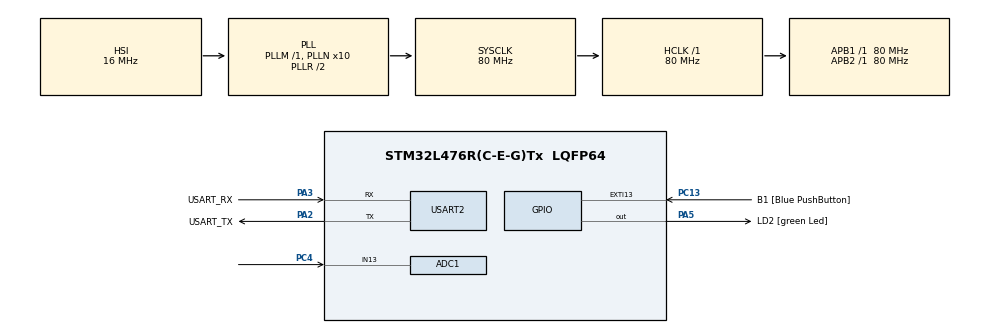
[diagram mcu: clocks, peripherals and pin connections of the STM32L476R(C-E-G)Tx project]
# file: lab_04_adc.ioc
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ADC1.Channel-1\#ChannelRegularConversion=ADC_CHANNEL_13
ADC1.NbrOfConversionFlag=1
ADC1.OffsetNumber-1\#ChannelRegularConversion=ADC_OFFSET_NONE
ADC1.Rank-1\#ChannelRegularConversion=1
ADC1.SamplingTime-1\#ChannelRegularConversion=ADC_SAMPLETIME_2CYCLES_5
ADC1.master=1
Mcu.Family=STM32L4
Mcu.Name=STM32L476R(C-E-G)Tx
Mcu.Package=LQFP64
NVIC.ADC1_2_IRQn=true\:0\:0\:false\:false\:true\:true\:true\:true
NVIC.EXTI15_10_IRQn=true\:0\:0\:false\:false\:true\:true\:true\:true
NVIC.PriorityGroup=NVIC_PRIORITYGROUP_4
PA13\ (JTMS-SWDIO).GPIO_Label=TMS
PA13\ (JTMS-SWDIO).Mode=Serial_Wire
PA13\ (JTMS-SWDIO).Signal=SYS_JTMS-SWDIO
PA14\ (JTCK-SWCLK).GPIO_Label=TCK
PA14\ (JTCK-SWCLK).Mode=Serial_Wire
PA14\ (JTCK-SWCLK).Signal=SYS_JTCK-SWCLK
PA2.GPIO_Label=USART_TX
PA2.GPIO_Mode=GPIO_MODE_AF_PP
PA2.GPIO_PuPd=GPIO_NOPULL
PA2.GPIO_Speed=GPIO_SPEED_FREQ_VERY_HIGH
PA2.Mode=Asynchronous
PA2.Signal=USART2_TX
PA3.GPIO_Label=USART_RX
PA3.GPIO_Mode=GPIO_MODE_AF_PP
PA3.GPIO_PuPd=GPIO_NOPULL
PA3.GPIO_Speed=GPIO_SPEED_FREQ_VERY_HIGH
PA3.Mode=Asynchronous
PA3.Signal=USART2_RX
PA5.GPIO_Label=LD2 [green Led]
PA5.GPIO_ModeDefaultOutputPP=GPIO_MODE_OUTPUT_PP
PA5.GPIO_PuPd=GPIO_NOPULL
PA5.GPIO_Speed=GPIO_SPEED_FREQ_LOW
PA5.Signal=GPIO_Output
PB3\ (JTDO-TRACESWO).GPIO_Label=SWO
PB3\ (JTDO-TRACESWO).Signal=SYS_JTDO-SWO
PC13.GPIO_Label=B1 [Blue PushButton]
PC13.GPIO_ModeDefaultEXTI=GPIO_MODE_IT_FALLING
PC13.GPIO_PuPd=GPIO_NOPULL
PC13.Signal=GPXTI13
PC14-OSC32_IN\ (PC14).Mode=LSE-External-Oscillator
PC14-OSC32_IN\ (PC14).Signal=RCC_OSC32_IN
PC15-OSC32_OUT\ (PC15).Mode=LSE-External-Oscillator
PC15-OSC32_OUT\ (PC15).Signal=RCC_OSC32_OUT
PC4.Signal=ADCx_IN13
PH0-OSC_IN\ (PH0).Signal=RCC_OSC_IN
PH1-OSC_OUT\ (PH1).Signal=RCC_OSC_OUT
ProjectManager.HeapSize=0x200
ProjectManager.StackSize=0x400
ProjectManager.TargetToolchain=CMake
RCC.ADCFreq_Value=64000000
RCC.AHBFreq_Value=80000000
RCC.APB1Freq_Value=80000000
RCC.APB1TimFreq_Value=80000000
RCC.APB2Freq_Value=80000000
RCC.APB2TimFreq_Value=80000000
RCC.CortexFreq_Value=80000000
RCC.HCLKFreq_Value=80000000
RCC.HSE_VALUE=8000000
RCC.HSI_VALUE=16000000
RCC.MSI_VALUE=4000000
RCC.PLLN=10
RCC.PLLSourceVirtual=RCC_PLLSOURCE_HSI
RCC.PREFETCH_ENABLE=1
RCC.SYSCLKFreq_VALUE=80000000
RCC.SYSCLKSource=RCC_SYSCLKSOURCE_PLLCLK
RCC.USBFreq_Value=64000000
RCC.VCOOutputFreq_Value=160000000
SH.ADCx_IN13.0=ADC1_IN13,IN13-Single-Ended
USART2.VirtualMode-Asynchronous=VM_ASYNC
board=NUCLEO-L476RG

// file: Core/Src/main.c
/* USER CODE BEGIN Header */
/**
 ******************************************************************************
 * @file           : main.c
 * @brief          : Main program body
 ******************************************************************************
 * @attention
 *
 * Copyright (c) 2025 STMicroelectronics.
 * All rights reserved.
 *
 * This software is licensed under terms that can be found in the LICENSE file
 * in the root directory of this software component.
 * If no LICENSE file comes with this software, it is provided AS-IS.
 *
 ******************************************************************************
 */
/* USER CODE END Header */
#include "main.h"
#include "adc.h"
#include "usart.h"
#include "gpio.h"

/* USER CODE BEGIN Includes */
#include <stdio.h>
/* USER CODE END Includes */

/* USER CODE BEGIN PV */
uint16_t adc_value = 0;
uint8_t adc_flag = 0;
/* USER CODE END PV */

void SystemClock_Config(void);

/* USER CODE BEGIN 0 */
int _write(int file, char *ptr, int len)
{
  HAL_UART_Transmit(&huart2, (uint8_t *)ptr, len, HAL_MAX_DELAY);
  return len;
}

void HAL_ADC_ConvCpltCallback(ADC_HandleTypeDef *hadc)
{
  if (hadc->Instance == ADC1)
  {
    adc_value = HAL_ADC_GetValue(hadc);
    adc_flag = 1;
  }
}
/* USER CODE END 0 */

int main(void)
{

  /* MCU Configuration--------------------------------------------------------*/

  /* Reset of all peripherals, Initializes the Flash interface and the Systick. */
  HAL_Init();

  /* Configure the system clock */
  SystemClock_Config();

  /* Initialize all configured peripherals */
  MX_GPIO_Init();
  MX_ADC1_Init();
  MX_USART2_UART_Init();
  /* USER CODE BEGIN 2 */

  HAL_ADC_Start_IT(&hadc1);

  // Test UART
  const char *testMsg = "System starting...\r\n";
  if (HAL_UART_Transmit(&huart2, (uint8_t *)testMsg, strlen(testMsg), 1000) == HAL_OK)
  {
    // UART działa
  }
  else
  {
    // UART nie działa
    Error_Handler();
  }

  /* USER CODE END 2 */

  /* Infinite loop */
  /* USER CODE BEGIN WHILE */
  while (1)
  {

    if (adc_flag == 1)
    {
      float voltage = (float)adc_value * (3.3f / 4095.0f);
      char voltage_str[10];
      snprintf(voltage_str, sizeof(voltage_str), "%.2f", voltage);
      printf("275417;%d;%sV\r\n", adc_value, voltage_str);
      adc_flag = 0;

      HAL_ADC_Start_IT(&hadc1);
    }

    HAL_Delay(1000);

    /* USER CODE END WHILE */

  }
}

void SystemClock_Config(void)
{
  RCC_OscInitTypeDef RCC_OscInitStruct = {0};
  RCC_ClkInitTypeDef RCC_ClkInitStruct = {0};

  /** Configure the main internal regulator output voltage
   */
  if (HAL_PWREx_ControlVoltageScaling(PWR_REGULATOR_VOLTAGE_SCALE1) != HAL_OK)
  {
    Error_Handler();
  }

  /** Initializes the RCC Oscillators according to the specified parameters
   * in the RCC_OscInitTypeDef structure.
   */
  RCC_OscInitStruct.OscillatorType = RCC_OSCILLATORTYPE_HSI;
  RCC_OscInitStruct.HSIState = RCC_HSI_ON;
  RCC_OscInitStruct.HSICalibrationValue = RCC_HSICALIBRATION_DEFAULT;
  RCC_OscInitStruct.PLL.PLLState = RCC_PLL_ON;
  RCC_OscInitStruct.PLL.PLLSource = RCC_PLLSOURCE_HSI;
  RCC_OscInitStruct.PLL.PLLM = 1;
  RCC_OscInitStruct.PLL.PLLN = 10;
  RCC_OscInitStruct.PLL.PLLP = RCC_PLLP_DIV7;
  RCC_OscInitStruct.PLL.PLLQ = RCC_PLLQ_DIV2;
  RCC_OscInitStruct.PLL.PLLR = RCC_PLLR_DIV2;
  if (HAL_RCC_OscConfig(&RCC_OscInitStruct) != HAL_OK)
  {
    Error_Handler();
  }

  /** Initializes the CPU, AHB and APB buses clocks
   */
  RCC_ClkInitStruct.ClockType = RCC_CLOCKTYPE_HCLK | RCC_CLOCKTYPE_SYSCLK | RCC_CLOCKTYPE_PCLK1 | RCC_CLOCKTYPE_PCLK2;
  RCC_ClkInitStruct.SYSCLKSource = RCC_SYSCLKSOURCE_PLLCLK;
  RCC_ClkInitStruct.AHBCLKDivider = RCC_SYSCLK_DIV1;
  RCC_ClkInitStruct.APB1CLKDivider = RCC_HCLK_DIV1;
  RCC_ClkInitStruct.APB2CLKDivider = RCC_HCLK_DIV1;

  if (HAL_RCC_ClockConfig(&RCC_ClkInitStruct, FLASH_LATENCY_4) != HAL_OK)
  {
    Error_Handler();
  }
}

void Error_Handler(void)
{
  __disable_irq();
  while (1)
  {
  }
}
